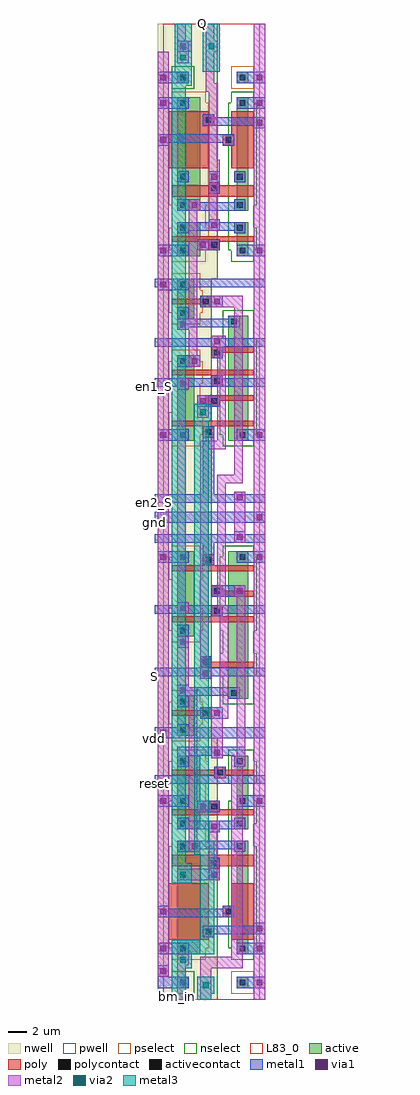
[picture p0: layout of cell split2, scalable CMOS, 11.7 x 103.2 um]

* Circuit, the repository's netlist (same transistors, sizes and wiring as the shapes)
.SUBCKT split2 D Q bm_in bm_out en1_S en2_S reset S vdd gnd
M1 net_1 en2_S gnd gnd n w=2.1u l=0.6u
M2 net_2 bm_in net_1 gnd n w=2.1u l=0.6u
M3 net_3 en1_S net_2 gnd n w=2.1u l=0.6u
M4 net_4 S net_3 gnd n w=2.1u l=0.6u
M5 net_4 en1_S net_5 vdd p w=1.8u l=0.6u
M6 vdd en2_S net_5 vdd p w=1.8u l=0.6u
M7 Q net_4 vdd vdd p w=2.4u l=0.6u
M8 Q net_4 gnd gnd n w=1.2u l=0.6u
M9 reset_bar reset vdd vdd p w=2.4u l=0.6u
M10 reset_bar reset gnd gnd n w=1.2u l=0.6u
M11 net_4 reset_bar vdd vdd p w=1.8u l=0.6u
M12 net_4 Q q1 gnd n w=1.2u l=1.2u
M13 net_4 Q p1 vdd p w=2.4u l=1.2u
M14 q1 vdd gnd gnd n w=1.2u l=6u
M15 p1 gnd vdd vdd p w=2.4u l=6u
M16 net_6 en2_S gnd gnd n w=2.1u l=0.6u
M17 net_7 D net_6 gnd n w=2.1u l=0.6u
M18 net_8 en1_S net_7 gnd n w=2.1u l=0.6u
M19 net_9 S net_8 gnd n w=2.1u l=0.6u
M20 net_9 en1_S net_10 vdd p w=1.8u l=0.6u
M21 vdd en2_S net_10 vdd p w=1.8u l=0.6u
M22 net_9 reset_bar vdd vdd p w=1.8u l=0.6u
M23 bm_out net_9 vdd vdd p w=2.4u l=0.6u
M24 bm_out net_9 gnd gnd n w=1.2u l=0.6u
M25 net_9 bm_out q11 gnd n w=1.2u l=1.2u
M26 net_9 bm_out p11 vdd p w=2.4u l=1.2u
M27 q11 vdd gnd gnd n w=1.2u l=6u
M28 p11 gnd vdd vdd p w=2.4u l=6u
.ENDS split2

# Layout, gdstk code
import gdstk
lib = gdstk.Library(unit=1e-6, precision=1e-09)
def R(c, l, rs):  # rectangles x0, y0, x1, y1
    for r in rs: c.add(gdstk.rectangle(r[:2], r[2:], *l))
def A(c, l, x, y, w, h, nx, ny, dx, dy):  # array of equal rectangles
    R(c, l, [(x+i*dx, y+j*dy, x+i*dx+w, y+j*dy+h) for i in range(nx) for j in range(ny)])
pwell = (41, 0)
nwell = (42, 0)
active = (43, 0)
pselect = (44, 0)
nselect = (45, 0)
poly = (46, 0)
polycontact = (47, 0)
activecontact = (48, 0)
metal1 = (49, 0)
via1 = (50, 0)
metal2 = (51, 0)
via2 = (61, 0)
metal3 = (62, 0)
L83_0 = (83, 0)

split2 = lib.new_cell('split2')
R(split2, pwell, [(5.7,0,10.8,27.6), (5.1,27.6,10.8,76.2), (5.7,76.2,10.8,103.2)])
R(split2, nwell, [(-0.6,0,5.7,27.6), (-0.6,27.6,5.1,76.2), (-0.6,76.2,5.7,103.2)])
R(split2, active, [(1.5,1.2,2.7,2.4), (7.8,1.2,9,2.4), (1.5,4.8,3.9,16.8), (7.8,4.8,9,15.6), (7.5,15.6,9,16.8), (1.5,18,3.9,25.8), (7.5,18,9,19.2), (7.8,19.2,9,24.6), (7.5,24.6,9,25.8), (1.5,27.9,3.3,32.1), (6.9,31.8,9,47.4), (1.5,38.4,3.3,47.4), (1.5,59.1,3.3,68.1), (6.9,59.1,9,72.3), (1.5,72,3.3,76.2), (1.5,78.6,3.9,82.2), (7.8,78.6,9,81), (7.5,81,9,82.2), (1.5,83.4,3.9,95.4), (7.5,83.4,9,84.6), (7.8,84.6,9,86.4), (7.5,86.4,9,87.6), (7.8,87.6,9,95.4), (1.5,96.9,2.7,98.1), (7.8,96.9,9,98.1)])
R(split2, pselect, [(7.2,0.6,9.6,3), (0.9,4.2,4.5,5.4), (0.6,5.4,4.8,16.2), (0.9,16.2,4.5,18.6), (0.6,18.6,4.8,21), (0.9,21,4.5,22.8), (0.6,22.8,4.8,25.2), (0.9,25.2,4.5,26.4), (0.9,27.3,3.9,29.1), (0.6,29.1,4.2,31.5), (0.9,31.5,3.9,32.7), (0.9,37.8,3.9,39), (0.6,39,4.2,41.4), (0.9,41.4,3.9,44.4), (0.6,44.4,4.2,46.8), (0.9,46.8,3.9,48), (0.9,58.5,3.9,59.7), (0.6,59.7,4.2,62.1), (0.9,62.1,3.9,65.1), (0.6,65.1,4.2,67.5), (0.9,67.5,3.9,68.7), (0.9,71.4,3.9,72.6), (0.6,72.6,4.2,75), (0.9,75,3.9,76.8), (0.9,78,4.5,79.2), (0.6,79.2,4.8,81.6), (0.9,81.6,4.5,84), (0.6,84,4.8,94.8), (0.9,94.8,4.5,96), (7.2,96.3,9.6,98.7)])
R(split2, nselect, [(0.9,0.6,3.3,3), (7.2,4.2,9.6,5.4), (6.9,5.4,9.9,16.2), (6.9,16.2,9.6,18.6), (6.9,18.6,9.9,21), (7.2,21,9.6,22.8), (6.9,22.8,9.9,25.2), (6.9,25.2,9.6,26.4), (6.3,31.2,9.6,34.2), (6,34.2,9.9,36.6), (6.3,36.6,9.6,39), (6,39,9.9,46.8), (6.3,46.8,9.6,48), (6.3,58.5,9.6,59.7), (6,59.7,9.9,69.9), (6.3,69.9,9.6,72.9), (7.2,78,9.6,79.2), (6.9,79.2,9.9,81.6), (6.9,81.6,9.6,84), (6.9,84,9.9,94.8), (7.2,94.8,9.6,96), (0.9,96.3,3.3,98.7)])
R(split2, poly, [(0.6,6.3,4.8,6.6), (7.2,6.3,9.6,8.7), (0.6,6.6,5.4,7.8), (0.6,7.8,4.8,12.3), (6.3,8.7,9.6,9.9), (7.2,9.9,9.6,12.3), (4.8,13.8,6,14.1), (0.9,14.1,9.6,15.3), (0.9,19.5,9.6,20.1), (4.8,20.1,6,21), (5.4,23.4,6.6,23.7), (0.9,23.7,9.6,24.3), (5.4,24.3,6.6,24.6), (3.9,29.7,5.1,30), (0.9,30,5.1,30.6), (3.9,30.6,5.1,30.9), (3.9,35.1,9.6,35.7), (3.9,35.7,5.1,36.3), (0.9,39.9,9.6,40.5), (5.1,40.5,6.3,41.7), (5.1,42.6,9.6,43.2), (5.1,43.2,6.3,43.8), (0.9,45.3,9.6,45.9), (4.2,45.9,5.4,47.1), (4.2,59.4,5.4,60.6), (0.9,60.6,9.6,61.2), (4.5,62.7,6,63.3), (4.5,63.3,9.6,63.9), (5.1,64.8,6.3,66), (0.9,66,9.6,66.6), (5.1,67.8,6.3,68.4), (5.1,68.4,9.6,69), (3.9,73.2,5.1,73.5), (0.9,73.5,5.1,74.1), (3.9,74.1,5.1,74.4), (4.8,79.2,6,80.1), (0.9,80.1,9.6,80.7), (0.9,84.9,9.6,86.1), (4.8,86.1,6,86.4), (0.6,87.9,4.8,92.4), (7.2,87.9,9.6,90.3), (6.3,90.3,9.6,91.5), (7.2,91.5,9.6,93.9), (0.6,92.4,5.4,93.6), (0.6,93.6,4.8,93.9)])
R(split2, polycontact, [(4.5,6.9,5.1,7.5), (6.6,9,7.2,9.6), (5.1,14.1,5.7,14.7), (5.1,20.1,5.7,20.7), (5.7,23.7,6.3,24.3), (4.2,30,4.8,30.6), (4.2,35.4,4.8,36), (5.4,40.8,6,41.4), (5.4,42.9,6,43.5), (4.5,46.2,5.1,46.8), (4.5,59.7,5.1,60.3), (5.1,63,5.7,63.6), (5.4,65.1,6,65.7), (5.4,68.1,6,68.7), (4.2,73.5,4.8,74.1), (5.1,79.5,5.7,80.1), (5.1,85.5,5.7,86.1), (6.6,90.6,7.2,91.2), (4.5,92.7,5.1,93.3)])
A(split2, activecontact, 1.8, 15.9, 0.6, 0.6, 1, 3, 0, 2.4)
A(split2, activecontact, 1.8, 78.9, 0.6, 0.6, 1, 3, 0, 2.4)
R(split2, activecontact, [(1.8,1.5,2.4,2.1), (8.1,1.5,8.7,2.1), (1.8,5.1,2.4,5.7), (8.1,5.1,8.7,5.7), (7.8,15.9,8.4,16.5), (7.8,18.3,8.4,18.9), (8.1,20.7,8.7,21.3), (1.8,24.9,2.4,25.5), (7.8,24.9,8.4,25.5), (1.8,28.2,2.4,28.8), (1.8,31.2,2.4,31.8), (7.2,32.1,7.8,32.7), (1.8,38.7,2.4,39.3), (1.8,46.5,2.4,47.1), (8.1,46.5,8.7,47.1), (1.8,59.4,2.4,60), (8.1,59.4,8.7,60), (1.8,67.2,2.4,67.8), (7.2,71.4,7.8,72), (1.8,72.3,2.4,72.9), (1.8,75.3,2.4,75.9), (8.1,78.9,8.7,79.5), (7.8,81.3,8.4,81.9), (7.8,83.7,8.4,84.3), (1.8,86.7,2.4,87.3), (7.8,86.7,8.4,87.3), (1.8,94.5,2.4,95.1), (8.1,94.5,8.7,95.1), (1.8,97.2,2.4,97.8), (8.1,97.2,8.7,97.8)])
R(split2, metal1, [(-0.6,1.2,2.7,2.4), (7.8,1.2,10.8,2.4), (-0.6,2.4,0.6,3.6), (-0.6,4.8,2.7,6), (7.8,4.8,10.8,6), (4.2,6.6,5.4,6.9), (4.2,6.9,10.8,7.8), (9.6,7.8,10.8,8.1), (-0.6,8.7,7.5,9.6), (-0.6,9.6,0.6,9.9), (6.3,9.6,7.5,9.9), (4.8,12.6,6,15), (1.5,15.6,3.9,15.9), (7.5,15.6,8.7,15.9), (1.5,15.9,8.7,16.8), (4.8,17.7,6,18), (1.5,18,8.7,18.9), (1.5,18.9,2.7,19.2), (7.5,18.9,8.7,19.2), (3.6,19.8,6,21), (-0.6,20.4,2.7,21.6), (7.8,20.4,10.8,21.6), (-0.9,22.8,10.8,23.7), (5.4,23.7,6.6,24.6), (1.5,24.6,2.7,25.8), (7.5,24.6,8.7,25.8), (5.1,25.5,6.3,25.8), (1.5,25.8,8.7,26.7), (-0.9,27.6,10.8,28.8), (1.5,28.8,2.7,29.1), (3.9,29.7,6.3,30.9), (1.5,30.9,2.7,32.1), (6.9,31.8,8.1,32.1), (1.5,32.1,8.1,33), (1.5,33,2.7,33.3), (3.9,33.9,5.1,34.2), (-0.9,34.2,10.8,35.1), (3.9,35.1,5.1,36.3), (1.5,37.2,2.7,39.6), (5.1,40.5,6.3,40.8), (-0.9,40.8,10.8,41.7), (1.5,41.7,2.7,42), (5.1,42.6,8.7,43.8), (4.2,45.9,5.4,48.3), (-0.6,46.2,2.7,47.4), (7.8,46.2,10.8,47.4), (-0.9,48.3,10.8,49.2), (7.5,49.2,8.7,49.5), (-0.9,50.4,10.8,51.6), (-0.9,52.5,10.8,53.4), (4.2,53.4,5.4,60.6), (7.5,53.4,8.7,53.7), (-0.6,59.1,2.7,60.3), (7.8,59.1,10.8,60.3), (3.6,62.7,6,63.9), (1.5,64.5,2.7,64.8), (-0.9,64.8,10.8,65.7), (5.1,65.7,6.3,66), (1.5,66.9,3.9,68.1), (5.1,67.8,6.3,69), (-0.9,69,10.8,69.9), (5.1,69.9,6.3,70.2), (1.5,70.8,2.7,71.1), (1.5,71.1,8.1,72), (1.5,72,2.7,73.2), (6.9,72,8.1,72.3), (3.9,73.2,6.3,74.4), (-0.6,75,2.7,75.3), (-0.9,75.3,10.8,76.2), (-0.6,78.6,2.7,79.8), (7.8,78.6,10.8,79.8), (3.6,79.2,6,80.4), (1.5,81,2.7,81.3), (7.5,81,8.7,81.3), (1.5,81.3,8.7,82.2), (4.8,82.2,6,82.5), (1.5,83.4,8.7,84.3), (1.5,84.3,3.9,84.6), (7.5,84.3,8.7,84.6), (4.8,85.2,6,87.6), (1.5,86.4,2.7,87.6), (7.5,86.4,8.7,87.6), (-0.6,90.3,0.6,90.6), (6.3,90.3,7.5,90.6), (-0.6,90.6,7.5,91.5), (9.6,92.1,10.8,92.4), (4.2,92.4,10.8,93.3), (4.2,93.3,5.4,93.6), (-0.6,94.2,2.7,95.4), (7.8,94.2,10.8,95.4), (-0.6,96.9,2.7,98.1), (7.8,96.9,10.8,98.1), (1.5,100.2,2.7,101.4)])
R(split2, via1, [(9.9,1.5,10.5,2.1), (-0.3,2.7,0.3,3.3), (-0.3,5.1,0.3,5.7), (9.9,5.1,10.5,5.7), (9.9,7.2,10.5,7.8), (-0.3,9,0.3,9.6), (5.1,12.9,5.7,13.5), (3,15.9,3.6,16.5), (5.1,18,5.7,18.6), (3.9,20.1,4.5,20.7), (-0.3,20.7,0.3,21.3), (9.9,20.7,10.5,21.3), (5.4,25.8,6,26.4), (-0.3,27.9,0.3,28.5), (5.4,30,6,30.6), (1.8,32.4,2.4,33), (4.2,34.2,4.8,34.8), (1.8,37.5,2.4,38.1), (1.8,41.1,2.4,41.7), (7.8,42.9,8.4,43.5), (-0.3,46.5,0.3,47.1), (9.9,46.5,10.5,47.1), (7.8,48.6,8.4,49.2), (9.9,50.7,10.5,51.3), (7.8,52.8,8.4,53.4), (-0.3,59.4,0.3,60), (9.9,59.4,10.5,60), (3.9,63,4.5,63.6), (1.8,64.8,2.4,65.4), (3,67.2,3.6,67.8), (5.4,69.3,6,69.9), (1.8,71.1,2.4,71.7), (5.4,73.5,6,74.1), (-0.3,75.3,0.3,75.9), (-0.3,78.9,0.3,79.5), (9.9,78.9,10.5,79.5), (3.9,79.5,4.5,80.1), (5.1,81.6,5.7,82.2), (3,83.7,3.6,84.3), (5.1,86.7,5.7,87.3), (-0.3,90.6,0.3,91.2), (9.9,92.4,10.5,93), (-0.3,94.5,0.3,95.1), (9.9,94.5,10.5,95.1), (-0.3,97.2,0.3,97.8), (9.9,97.2,10.5,97.8), (1.8,100.5,2.4,101.1)])
R(split2, metal2, [(1.5,0,2.4,3.6), (3.9,0,5.1,3.3), (9.6,0,10.8,103.2), (-0.6,2.4,0.6,100.2), (3.9,3.3,8.4,4.5), (1.5,3.6,2.7,4.8), (7.2,4.5,8.4,24.6), (1.5,12.6,6,13.8), (4.8,13.8,5.7,17.7), (2.7,15.6,3.9,16.8), (2.7,16.8,3.6,19.8), (4.8,17.7,6,18.9), (2.7,19.8,4.8,21), (2.7,21,3.6,32.1), (7.2,24.6,8.7,25.8), (5.1,25.5,6.3,29.7), (7.8,25.8,8.7,42.6), (5.1,29.7,6.9,30.9), (6,30.9,6.9,40.8), (1.5,32.1,3.6,33), (1.5,33,2.7,38.4), (3.9,33.9,5.1,35.1), (3.9,35.1,4.8,58.2), (1.5,40.8,2.7,42), (5.7,40.8,6.9,41.7), (5.7,41.7,6.6,54.6), (1.5,42,2.4,64.5), (7.5,42.6,8.7,43.8), (7.5,48.3,8.7,53.7), (5.7,54.6,8.4,55.5), (7.5,55.5,8.4,73.2), (3.9,58.2,6.6,59.1), (5.7,59.1,6.6,69), (3.6,61.5,4.8,63.9), (1.5,64.5,2.7,65.7), (2.7,66.9,3.9,68.1), (2.7,68.1,3.6,70.8), (5.1,69,6.6,70.2), (1.5,70.8,3.6,72), (2.7,72,3.6,79.2), (5.1,73.2,8.4,74.4), (2.7,79.2,4.8,80.4), (2.7,80.4,3.6,83.4), (4.8,81.3,6,82.5), (4.8,82.5,5.7,86.4), (2.7,83.4,3.9,84.6), (4.8,86.4,6,88.8), (4.8,88.8,5.7,96), (4.5,96,5.7,96.9), (4.5,96.9,5.4,100.2), (1.5,99,2.7,100.2), (1.5,100.2,3,101.4), (4.5,100.2,5.7,101.4), (1.5,101.4,2.4,103.2), (4.5,101.4,5.4,103.2)])
R(split2, via2, [(4.2,1.2,4.8,1.8), (1.8,3.9,2.4,4.5), (1.8,12.9,2.4,13.5), (3.9,61.8,4.5,62.4), (1.8,99.3,2.4,99.9), (4.8,100.5,5.4,101.1)])
R(split2, metal3, [(0.9,0,2.4,3.3), (3.6,0,5.1,0.6), (3.6,0.6,5.4,2.4), (0.9,3.3,3,4.8), (0.9,4.8,5.4,6.3), (3.9,6.3,5.4,15.3), (0.9,12.3,3,14.4), (0.9,14.4,2.4,96.6), (3.3,15.3,5.4,16.8), (3.3,16.8,4.8,61.2), (3.3,61.2,5.1,63), (0.9,96.6,3,98.1), (1.2,98.1,3,103.2), (4.2,98.1,6,103.2)])
R(split2, L83_0, [(0,0,10.2,103.2)])
split2.add(gdstk.Label('reset', (-0.9,22.8), layer=49, texttype=0))
split2.add(gdstk.Label('gnd', (-0.9,50.4), layer=49, texttype=0))
split2.add(gdstk.Label('en2_S', (-0.9,52.5), layer=49, texttype=0))
split2.add(gdstk.Label('vdd', (-0.9,27.6), layer=49, texttype=0))
split2.add(gdstk.Label('S', (-0.9,34.2), layer=49, texttype=0))
split2.add(gdstk.Label('en1_S', (-0.9,64.8), layer=49, texttype=0))
split2.add(gdstk.Label('Q', (4.2,103.2), layer=62, texttype=0))
split2.add(gdstk.Label('bm_in', (1.5,0.3), layer=62, texttype=0))
split2.add(gdstk.Label('D', (3.6,0), layer=62, texttype=0))
split2.add(gdstk.Label('bm_out', (1.2,103.2), layer=62, texttype=0))

lib.write_gds('split2.gds')
